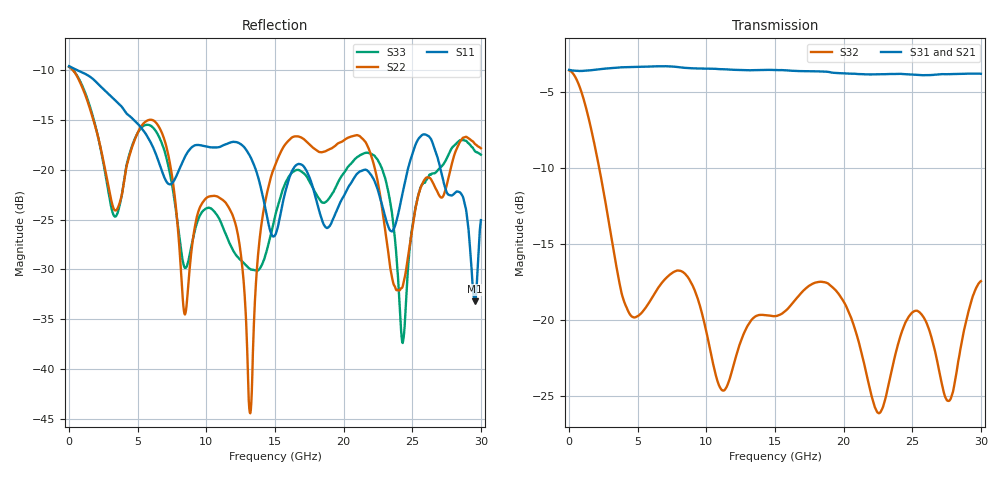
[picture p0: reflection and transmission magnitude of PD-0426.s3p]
! MARKI MICROWAVE INC.
! Email:  info@markimicrowave.com  Phone:  408-778-4200
! Model Number:  PD0426  Date:  05/15
! Filename:		PD-0426.S3P  Version: 1.0
! Description:  3-port S-parameter data for Power Divider PD-0426
! Measured Frequency: 	10 MHz to 26 GHz
! Port Configuration:	PORT 1: COMMON, PORT 2 and Port 3: Output
! S3P File: Measurements: Mag<S11> Ang<S11> Mag<S12> Ang<S12> Mag<S13> Ang<S13>! row 1
!  Mag<S21> Ang<S21> Mag<S22> Ang<S22> Mag<S23> Ang<S23>! row 2
!  Mag<S31> Ang<S31> Mag<S32> Ang<S32> Mag<S33> Ang<S33>! row 3
# Hz S  dB  R 50
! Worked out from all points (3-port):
!   801 points, 10 MHz to 30 GHz, reference 50 ohm
!   strongest paths, dB at 10 MHz, 7.508 GHz, 15.01 GHz, 22.5 GHz, 30 GHz:
!     S31: -3.5, -3.3, -3.5, -3.8, -3.8
!     S21: -3.6, -3.3, -3.6, -3.8, -4.0
!     S32: -3.6, -16.9, -19.8, -26.1, -17.4
!   lowest |S11| = -33.2 dB at 29.55 GHz (marker M1), VSWR 1.04, Z = 51.6 + j1.53 ohm
!   |S11| at or under -10 dB: 618.7 MHz to end of sweep
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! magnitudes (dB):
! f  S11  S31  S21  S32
! 10 MHz  -9.6  -3.5  -3.6  -3.6
! 6.683 GHz  -19.8  -3.3  -3.3  -17.7
! 8.445 GHz  -18.7  -3.4  -3.4  -17.0
! 11.71 GHz  -17.3  -3.5  -3.5  -23.9
! 13.21 GHz  -18.7  -3.6  -3.6  -20.1
! 15.01 GHz  -26.6  -3.5  -3.6  -19.8
! 22.24 GHz  -21.1  -3.8  -3.9  -25.6
! 24.3 GHz  -22.3  -3.8  -3.9  -20.6
! 29.55 GHz  -33.2  -3.8  -3.9  -18.1
! 30 GHz  -25.1  -3.8  -4.0  -17.4
